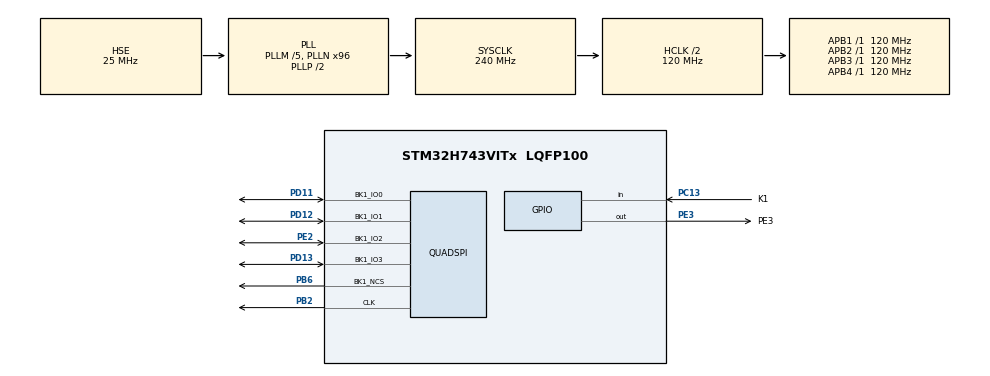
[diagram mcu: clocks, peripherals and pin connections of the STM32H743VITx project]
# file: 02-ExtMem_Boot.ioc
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CORTEX_M7.CPU_DCache=Enabled
CORTEX_M7.CPU_ICache=Enabled
CORTEX_M7.MPU_Control=__NULL
Mcu.Family=STM32H7
Mcu.Name=STM32H743VITx
Mcu.Package=LQFP100
NVIC.PriorityGroup=NVIC_PRIORITYGROUP_4
PA13\ (JTMS/SWDIO).Mode=Serial_Wire
PA13\ (JTMS/SWDIO).Signal=DEBUG_JTMS-SWDIO
PA14\ (JTCK/SWCLK).Mode=Serial_Wire
PA14\ (JTCK/SWCLK).Signal=DEBUG_JTCK-SWCLK
PB2.GPIO_Speed=GPIO_SPEED_FREQ_VERY_HIGH
PB2.Mode=Single Bank 1
PB2.Signal=QUADSPI_CLK
PB6.GPIO_PuPd=GPIO_NOPULL
PB6.GPIO_Speed=GPIO_SPEED_FREQ_VERY_HIGH
PB6.Mode=Single Bank 1
PB6.Signal=QUADSPI_BK1_NCS
PC13.GPIO_Label=K1
PC13.GPIO_PuPd=GPIO_PULLDOWN
PC13.Signal=GPIO_Input
PC14-OSC32_IN\ (OSC32_IN).Mode=LSE-External-Oscillator
PC14-OSC32_IN\ (OSC32_IN).Signal=RCC_OSC32_IN
PC15-OSC32_OUT\ (OSC32_OUT).Mode=LSE-External-Oscillator
PC15-OSC32_OUT\ (OSC32_OUT).Signal=RCC_OSC32_OUT
PD11.GPIO_Speed=GPIO_SPEED_FREQ_VERY_HIGH
PD11.Mode=Single Bank 1
PD11.Signal=QUADSPI_BK1_IO0
PD12.GPIO_Speed=GPIO_SPEED_FREQ_VERY_HIGH
PD12.Mode=Single Bank 1
PD12.Signal=QUADSPI_BK1_IO1
PD13.GPIO_Speed=GPIO_SPEED_FREQ_VERY_HIGH
PD13.Mode=Single Bank 1
PD13.Signal=QUADSPI_BK1_IO3
PE2.GPIO_Speed=GPIO_SPEED_FREQ_VERY_HIGH
PE2.Mode=Single Bank 1
PE2.Signal=QUADSPI_BK1_IO2
PE3.GPIO_Label=PE3
PE3.Signal=GPIO_Output
PH0-OSC_IN\ (PH0).Mode=HSE-External-Oscillator
PH0-OSC_IN\ (PH0).Signal=RCC_OSC_IN
PH1-OSC_OUT\ (PH1).Mode=HSE-External-Oscillator
PH1-OSC_OUT\ (PH1).Signal=RCC_OSC_OUT
ProjectManager.HeapSize=0x200
ProjectManager.StackSize=0x400
ProjectManager.TargetToolchain=MDK-ARM V5.27
QUADSPI.ChipSelectHighTime=QSPI_CS_HIGH_TIME_8_CYCLE
QUADSPI.ClockMode=QSPI_CLOCK_MODE_3
QUADSPI.ClockPrescaler=2-1
QUADSPI.FifoThreshold=32
QUADSPI.FlashSize=23-1
QUADSPI.SampleShifting=QSPI_SAMPLE_SHIFTING_HALFCYCLE
RCC.ADCFreq_Value=200000000
RCC.APB1Freq_Value=120000000
RCC.APB2Freq_Value=120000000
RCC.APB3Freq_Value=120000000
RCC.APB4Freq_Value=120000000
RCC.CortexFreq_Value=240000000
RCC.DIVM1=5
RCC.DIVM2=2
RCC.DIVN1=96
RCC.DIVN2=32
RCC.DIVQ1=1
RCC.HCLKFreq_Value=120000000
RCC.HPRE=RCC_HCLK_DIV2
RCC.HSE_VALUE=25000000
RCC.PLL2FRACN=0
RCC.PLL3FRACN=0
RCC.PLLFRACN=0
RCC.PLLSourceVirtual=RCC_PLLSOURCE_HSE
RCC.RTCClockSelection=RCC_RTCCLKSOURCE_LSE
RCC.SYSCLKFreq_VALUE=240000000
RCC.SYSCLKSource=RCC_SYSCLKSOURCE_PLLCLK
RCC.SupplySource=PWR_LDO_SUPPLY
RCC.USBFreq_Value=480000000
VP_RTC_VS_RTC_Activate.Mode=RTC_Enabled
board=custom

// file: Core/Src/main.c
/* USER CODE BEGIN Header */
/**
  ******************************************************************************
  * @file           : main.c
  * @brief          : Main program body
  ******************************************************************************
  * @attention
  *
  * <h2><center>&copy; Copyright (c) 2020 STMicroelectronics.
  * All rights reserved.</center></h2>
  *
  * This software component is licensed by ST under BSD 3-Clause license,
  * the "License"; You may not use this file except in compliance with the
  * License. You may obtain a copy of the License at:
  *                        opensource.org/licenses/BSD-3-Clause
  *
  ******************************************************************************
  */
/* USER CODE END Header */
#include "main.h"
#include "quadspi.h"
#include "rtc.h"
#include "gpio.h"

/* USER CODE BEGIN Includes */
#include "w25qxx_qspi.h"
/* USER CODE END Includes */

/* USER CODE BEGIN PTD */

#define W25Qxx_TEST              (0)
#define APPLICATION_ADDRESS      QSPI_BASE
#define ISP_ADDRESS              (0x1FF09800UL)
typedef  void (*pFunction)(void);
/* USER CODE END PTD */

/* USER CODE BEGIN PV */
pFunction JumpToApplication;
/* USER CODE END PV */

void SystemClock_Config(void);
/* USER CODE BEGIN PFP */
static void CPU_CACHE_Disable(void);
/* USER CODE END PFP */

/* USER CODE BEGIN 0 */
#if W25Qxx_TEST == (1)
uint8_t read[4096];
uint8_t write[4096];
#endif

uint8_t app_IsReady(uint32_t addr)
{
  uint32_t data;

  W25qxx_Read((uint8_t *)&data,addr - QSPI_BASE,sizeof(data));

	if((data & 0x2FF80000 ) == 0x24000000)
		return SUCCESS;
	else if((data & 0x2FF80000 ) == 0x20000000)
		return SUCCESS;
  else if((data & 0x3FF80000 ) == 0x30000000)
		return SUCCESS;
 	else if((data & 0x3FF80000 ) == 0x00000000)
		return SUCCESS;
	else
		return ERROR;
}

void app_Jump(uint32_t addr)
{
	pFunction JumpToApplication;
	uint32_t JumpAddress;

	/* Jump to user application */
	JumpAddress = *(__IO uint32_t*) (addr + 4);
	JumpToApplication = (pFunction) JumpAddress;

	/* Initialize user application's Stack Pointer */
	__set_MSP(*(__IO uint32_t*) addr);
	JumpToApplication();
}

/* USER CODE END 0 */

int main(void)
{

  /* Enable I-Cache---------------------------------------------------------*/
  SCB_EnableICache();

  /* Enable D-Cache---------------------------------------------------------*/
  SCB_EnableDCache();

  /* MCU Configuration--------------------------------------------------------*/

  /* Reset of all peripherals, Initializes the Flash interface and the Systick. */
  HAL_Init();

  /* Configure the system clock */
  SystemClock_Config();

  /* Initialize all configured peripherals */
  MX_GPIO_Init();
  MX_RTC_Init();
  /* USER CODE BEGIN 2 */

	/* QPIMode && NormalMode : 100Mhz Clk can run to App, Normal */
	/* QPIMode && DTRMode    : 100Mhz Clk can not run to App, need lower Clk, Recommend 50Mhz */
	/* SPIMode && NormalMode : 100Mhz Clk can run to App, Normal */
	/* SPIMode && DTRMode    : 100Mhz Clk can not run to App, need lower Clk, Recommend 50Mhz*/

	/* QPIMode && NormalMode : 120Mhz Clk can not run to App, UnNormal */
	/* QPIMode && DTRMode    : 120Mhz Clk can not run to App, need lower Clk, Recommend 60Mhz */
	/* SPIMode && NormalMode : 120Mhz Clk can run to App, Normal */
	/* SPIMode && DTRMode    : 120Mhz Clk can not run to App, need lower Clk, Recommend 60Mhz*/

	w25qxx_Init();
	w25qxx_EnterQPI();

#if W25Qxx_TEST == (1)
	W25qxx_EraseSector(0);
	for(uint32_t j=0;j<sizeof(write);j+=256)
		for(uint32_t i=0;i<=0xff;i++)
			write[j+i] = i;
	W25qxx_WriteNoCheck(write,0,sizeof(write));
	W25qxx_Read(read,0,sizeof(read));
#endif
	w25qxx_Startup(w25qxx_DTRMode);

#if W25Qxx_TEST == (0)
  /* Reset MCU && Long Press K1 to Enter ISP Mode */
	if(HAL_GPIO_ReadPin(K1_GPIO_Port,K1_Pin) == GPIO_PIN_SET)
	{
		HAL_Delay(50);
		while(HAL_GPIO_ReadPin(K1_GPIO_Port,K1_Pin) == GPIO_PIN_SET)
		{
			HAL_GPIO_TogglePin(PE3_GPIO_Port,PE3_Pin);
			HAL_Delay(80);
		}
		HAL_QSPI_DeInit(&hqspi);
		HAL_GPIO_DeInit(GPIOA,GPIO_PIN_All);
		HAL_GPIO_DeInit(GPIOB,GPIO_PIN_All);
		HAL_GPIO_DeInit(GPIOC,GPIO_PIN_All);
		HAL_GPIO_DeInit(GPIOD,GPIO_PIN_All);
		HAL_GPIO_DeInit(GPIOE,GPIO_PIN_All);

		/* Disable CPU L1 cache before jumping to the QSPI code execution */
		CPU_CACHE_Disable();
		/* Disable Systick interrupt */
		SysTick->CTRL = 0;

		/* Initialize ISP application's Stack Pointer & Jump to ISP application */
		app_Jump(ISP_ADDRESS);
	}

  if(app_IsReady(APPLICATION_ADDRESS) == SUCCESS)
	{
		/* Disable CPU L1 cache before jumping to the QSPI code execution */
		CPU_CACHE_Disable();
		/* Disable Systick interrupt */
		SysTick->CTRL = 0;

		/* Initialize user application's Stack Pointer & Jump to user application */
		app_Jump(APPLICATION_ADDRESS);
	}
#endif
  /* USER CODE END 2 */

  /* Infinite loop */
  while (1)
  {

    /* USER CODE BEGIN 3 */
		//if(HAL_GPIO_ReadPin(K1_GPIO_Port,K1_Pin) == GPIO_PIN_SET) HAL_GPIO_WritePin(PE3_GPIO_Port,PE3_Pin,GPIO_PIN_SET);
		//else HAL_GPIO_WritePin(PE3_GPIO_Port,PE3_Pin,GPIO_PIN_RESET);

		HAL_GPIO_TogglePin(PE3_GPIO_Port,PE3_Pin);
		HAL_Delay(500);
  }
  /* USER CODE END 3 */
}

void SystemClock_Config(void)
{
  RCC_OscInitTypeDef RCC_OscInitStruct = {0};
  RCC_ClkInitTypeDef RCC_ClkInitStruct = {0};
  RCC_PeriphCLKInitTypeDef PeriphClkInitStruct = {0};

  /** Supply configuration update enable
  */
  HAL_PWREx_ConfigSupply(PWR_LDO_SUPPLY);
  /** Configure the main internal regulator output voltage
  */
  __HAL_PWR_VOLTAGESCALING_CONFIG(PWR_REGULATOR_VOLTAGE_SCALE2);

  while(!__HAL_PWR_GET_FLAG(PWR_FLAG_VOSRDY)) {}
  /** Configure LSE Drive Capability
  */
  HAL_PWR_EnableBkUpAccess();
  __HAL_RCC_LSEDRIVE_CONFIG(RCC_LSEDRIVE_LOW);
  /** Initializes the RCC Oscillators according to the specified parameters
  * in the RCC_OscInitTypeDef structure.
  */
  RCC_OscInitStruct.OscillatorType = RCC_OSCILLATORTYPE_HSE|RCC_OSCILLATORTYPE_LSE;
  RCC_OscInitStruct.HSEState = RCC_HSE_ON;
  RCC_OscInitStruct.LSEState = RCC_LSE_ON;
  RCC_OscInitStruct.PLL.PLLState = RCC_PLL_ON;
  RCC_OscInitStruct.PLL.PLLSource = RCC_PLLSOURCE_HSE;
  RCC_OscInitStruct.PLL.PLLM = 5;
  RCC_OscInitStruct.PLL.PLLN = 96;
  RCC_OscInitStruct.PLL.PLLP = 2;
  RCC_OscInitStruct.PLL.PLLQ = 1;
  RCC_OscInitStruct.PLL.PLLR = 2;
  RCC_OscInitStruct.PLL.PLLRGE = RCC_PLL1VCIRANGE_2;
  RCC_OscInitStruct.PLL.PLLVCOSEL = RCC_PLL1VCOWIDE;
  RCC_OscInitStruct.PLL.PLLFRACN = 0;
  if (HAL_RCC_OscConfig(&RCC_OscInitStruct) != HAL_OK)
  {
    Error_Handler();
  }
  /** Initializes the CPU, AHB and APB buses clocks
  */
  RCC_ClkInitStruct.ClockType = RCC_CLOCKTYPE_HCLK|RCC_CLOCKTYPE_SYSCLK
                              |RCC_CLOCKTYPE_PCLK1|RCC_CLOCKTYPE_PCLK2
                              |RCC_CLOCKTYPE_D3PCLK1|RCC_CLOCKTYPE_D1PCLK1;
  RCC_ClkInitStruct.SYSCLKSource = RCC_SYSCLKSOURCE_PLLCLK;
  RCC_ClkInitStruct.SYSCLKDivider = RCC_SYSCLK_DIV1;
  RCC_ClkInitStruct.AHBCLKDivider = RCC_HCLK_DIV2;
  RCC_ClkInitStruct.APB3CLKDivider = RCC_APB3_DIV1;
  RCC_ClkInitStruct.APB1CLKDivider = RCC_APB1_DIV1;
  RCC_ClkInitStruct.APB2CLKDivider = RCC_APB2_DIV1;
  RCC_ClkInitStruct.APB4CLKDivider = RCC_APB4_DIV1;

  if (HAL_RCC_ClockConfig(&RCC_ClkInitStruct, FLASH_LATENCY_1) != HAL_OK)
  {
    Error_Handler();
  }
  PeriphClkInitStruct.PeriphClockSelection = RCC_PERIPHCLK_RTC|RCC_PERIPHCLK_QSPI;
  PeriphClkInitStruct.QspiClockSelection = RCC_QSPICLKSOURCE_D1HCLK;
  PeriphClkInitStruct.RTCClockSelection = RCC_RTCCLKSOURCE_LSE;
  if (HAL_RCCEx_PeriphCLKConfig(&PeriphClkInitStruct) != HAL_OK)
  {
    Error_Handler();
  }
}

/* USER CODE BEGIN 4 */
/**
  * @brief  CPU L1-Cache disable.
  * @param  None
  * @retval None
  */
static void CPU_CACHE_Disable(void)
{
  /* Disable I-Cache */
  SCB_DisableICache();

  /* Disable D-Cache */
  SCB_DisableDCache();
}

/* USER CODE END 4 */

void Error_Handler(void)
{
}

/************************ (C) COPYRIGHT STMicroelectronics *****END OF FILE****/
